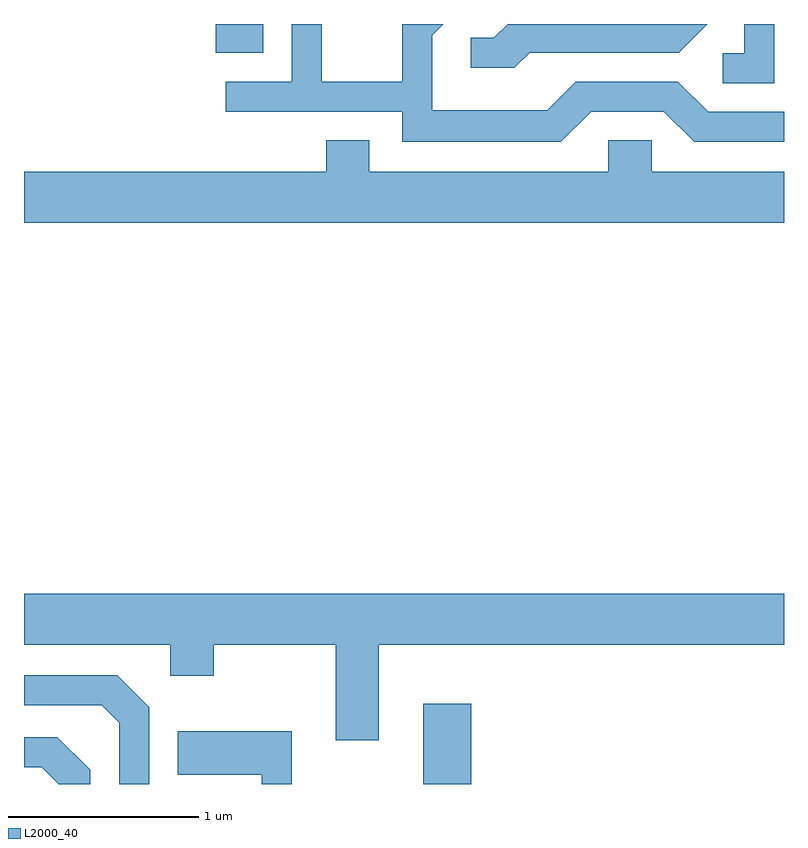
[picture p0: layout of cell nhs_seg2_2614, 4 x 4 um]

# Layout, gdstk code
import gdstk
lib = gdstk.Library(unit=1e-6, precision=1e-09)
def R(c, l, rs):  # rectangles x0, y0, x1, y1
    for r in rs: c.add(gdstk.rectangle(r[:2], r[2:], *l))
def P(c, l, *ps):  # polygons
    for p in ps: c.add(gdstk.Polygon(p, *l))
L2000_40 = (2000, 40)

nhs_seg2_2614 = lib.new_cell('nhs_seg2_2614')
R(nhs_seg2_2614, L2000_40, [(263.711,1049.802,263.964,1050.224), (262.621,1053.651,262.869,1053.802)])
P(nhs_seg2_2614, L2000_40, [(265.559,1053.802),(265.401,1053.802),(265.401,1053.649),(265.288,1053.649),(265.288,1053.491),(265.559,1053.491)],
  [(264.597,1053.341),(264.979,1053.341),(265.139,1053.181),(265.611,1053.181),(265.611,1053.339),(265.212,1053.339),(265.052,1053.499),(264.514,1053.499),(264.364,1053.349),(263.759,1053.349),(263.759,1053.744),(263.817,1053.802),(263.601,1053.802),(263.601,1053.499),(263.179,1053.499),(263.179,1053.802),(263.021,1053.802),(263.021,1053.499),(262.673,1053.499),(262.673,1053.341),(263.601,1053.341),(263.601,1053.181),(264.437,1053.181)],
  [(264.272,1053.651),(265.057,1053.651),(265.207,1053.802),(264.156,1053.802),(264.084,1053.729),(263.963,1053.729),(263.963,1053.571),(264.192,1053.571)],
  [(265.611,1053.024),(264.914,1053.024),(264.914,1053.189),(264.686,1053.189),(264.686,1053.024),(263.429,1053.024),(263.429,1053.189),(263.201,1053.189),(263.201,1053.024),(261.611,1053.024),(261.611,1052.756),(265.611,1052.756)],
  [(263.479,1050.536),(265.611,1050.536),(265.611,1050.804),(261.611,1050.804),(261.611,1050.536),(262.381,1050.536),(262.381,1050.371),(262.609,1050.371),(262.609,1050.536),(263.251,1050.536),(263.251,1050.031),(263.479,1050.031)],
  [(262.269,1050.207),(262.102,1050.374),(261.611,1050.374),(261.611,1050.216),(262.019,1050.216),(262.111,1050.124),(262.111,1049.802),(262.269,1049.802)],
  [(263.019,1050.079),(262.421,1050.079),(262.421,1049.851),(262.861,1049.851),(262.861,1049.802),(263.019,1049.802)],
  [(261.959,1049.877),(261.787,1050.049),(261.611,1050.049),(261.611,1049.891),(261.704,1049.891),(261.793,1049.802),(261.959,1049.802)])

lib.write_gds('nhs_seg2_2614.gds')
